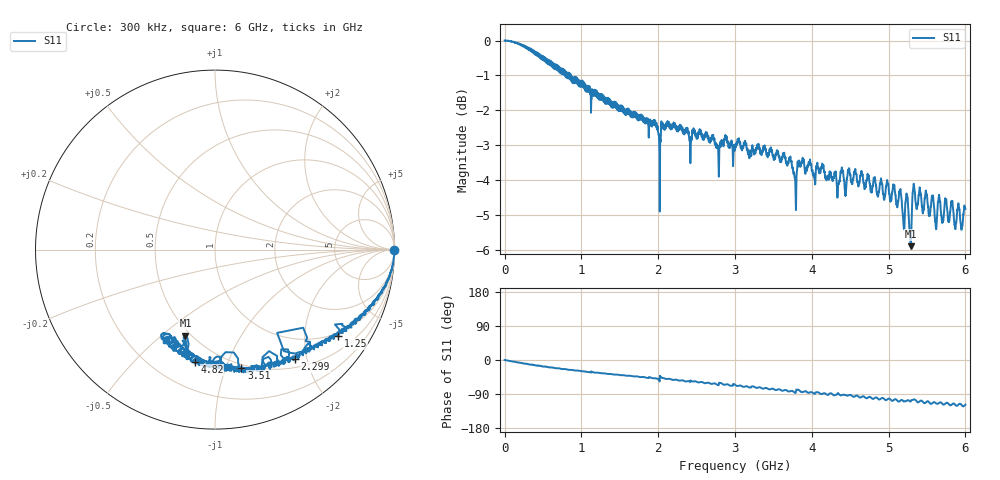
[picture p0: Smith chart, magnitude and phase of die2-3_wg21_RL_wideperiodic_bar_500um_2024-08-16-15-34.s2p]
!Keysight Technologies,P9374A,MY57304198,A.17.20.09
!Date: Friday, August 16, 2024 15:34:18
!Correction: S11(C  1-Port  )
!S21(C  1-Port  )
!S12(Off)
!S22(Off)
!S2P File: Measurements: S11, S21, S12, S22:
# Hz S  dB  R 50
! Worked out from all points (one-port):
!   6000 points, 300 kHz to 6 GHz, reference 50 ohm
!   lowest |S11| = -5.9 dB at 5.289 GHz (marker M1), VSWR 3.06, Z = 23.4 - j30.2 ohm
!   |S11| at or under -10 dB: nowhere
!   S11 on the Smith chart (normalised r, x): 300 kHz: open; 1.25 GHz: 0.90, -2.92; 2.299 GHz: 0.63, -1.79; 3.51 GHz: 0.47, -1.14; 4.82 GHz: 0.37, -0.77; 6 GHz: 0.36, -0.54
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300000  -0.00 -0.0  -200.00 45.0  -200.00 45.0  -200.00 45.0
4.223492e8  -0.34 -14.4  -200.00 45.0  -200.00 45.0  -200.00 45.0
1.000417e9  -1.32 -29.7  -200.00 45.0  -200.00 45.0  -200.00 45.0
1.250446e9  -1.54 -35.0  -200.00 45.0  -200.00 45.0  -200.00 45.0
2.000533e9  -2.65 -50.9  -200.00 45.0  -200.00 45.0  -200.00 45.0
2.05354e9  -2.45 -47.0  -200.00 45.0  -200.00 45.0  -200.00 45.0
2.298568e9  -2.43 -53.9  -200.00 45.0  -200.00 45.0  -200.00 45.0
2.761622e9  -3.01 -64.6  -200.00 45.0  -200.00 45.0  -200.00 45.0
2.821629e9  -2.95 -60.8  -200.00 45.0  -200.00 45.0  -200.00 45.0
2.944644e9  -2.98 -68.0  -200.00 45.0  -200.00 45.0  -200.00 45.0
3.00065e9  -3.04 -65.3  -200.00 45.0  -200.00 45.0  -200.00 45.0
3.509709e9  -3.40 -77.4  -200.00 45.0  -200.00 45.0  -200.00 45.0
3.764739e9  -3.82 -84.1  -200.00 45.0  -200.00 45.0  -200.00 45.0
3.824746e9  -3.57 -78.3  -200.00 45.0  -200.00 45.0  -200.00 45.0
4.000767e9  -3.73 -85.0  -200.00 45.0  -200.00 45.0  -200.00 45.0
4.819862e9  -3.93 -100.2  -200.00 45.0  -200.00 45.0  -200.00 45.0
5.000883e9  -4.24 -101.8  -200.00 45.0  -200.00 45.0  -200.00 45.0
5.135899e9  -4.40 -109.6  -200.00 45.0  -200.00 45.0  -200.00 45.0
5.288917e9  -5.89 -109.0  -200.00 45.0  -200.00 45.0  -200.00 45.0
5.333922e9  -4.22 -103.8  -200.00 45.0  -200.00 45.0  -200.00 45.0
5.470938e9  -4.52 -114.0  -200.00 45.0  -200.00 45.0  -200.00 45.0
6e9  -4.82 -118.0  -200.00 45.0  -200.00 45.0  -200.00 45.0
